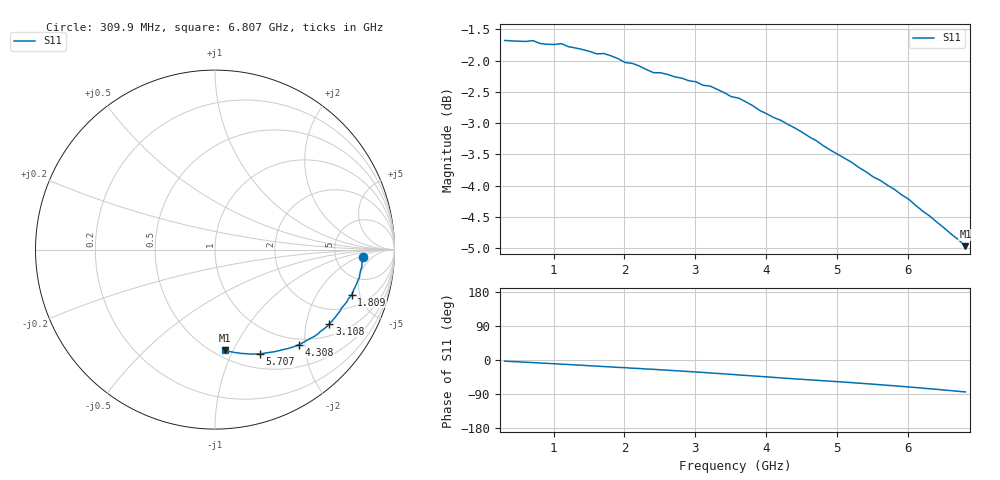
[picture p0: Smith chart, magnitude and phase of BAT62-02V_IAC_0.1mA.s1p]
! Infineon Technologies  Discrete & RF Semiconductors
! BAT62-02V
! IAC = 0.1 mA
! One-Port S-Parameters
# Hz  S  MA  R  50
!f  S11
!Hz  Mag  Ang
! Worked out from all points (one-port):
!   66 points, 309.9 MHz to 6.807 GHz, reference 50 ohm
!   lowest |S11| = -5.0 dB at 6.807 GHz (marker M1), VSWR 3.59, Z = 28.3 - j46.6 ohm
!   |S11| at or under -10 dB: nowhere
!   S11 on the Smith chart (normalised r, x): 309.9 MHz: 10, -3; 1.809 GHz: 2.98, -4.18; 3.108 GHz: 1.41, -2.74; 4.308 GHz: 0.89, -1.88; 5.707 GHz: 0.67, -1.29; 6.807 GHz: 0.57, -0.93
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3.0985e8  0.8243 -3.0
7.0965e8  0.8241 -6.8
8.096e8  0.8197 -7.9
1.10945e9  0.8195 -11.0
1.2094e9  0.8149 -11.9
1.50925e9  0.8078 -15.2
1.6092e9  0.8042 -16.0
1.8091e9  0.8014 -18.2
1.90905e9  0.7971 -19.5
2.009e9  0.7915 -20.2
2.10895e9  0.7903 -21.6
2.2089e9  0.7864 -22.4
2.30885e9  0.7813 -23.8
2.4088e9  0.7768 -24.6
2.50875e9  0.7767 -25.9
2.8086e9  0.769 -29.3
3.10845e9  0.759 -32.9
3.2084e9  0.7578 -34.2
3.50825e9  0.7432 -37.9
3.6082e9  0.7413 -39.4
4.2079e9  0.7114 -47.4
4.30785e9  0.706 -48.6
4.4078e9  0.7013 -50.0
5.2074e9  0.6584 -59.8
5.70715e9  0.6314 -66.8
6.007e9  0.6153 -71.1
6.50675e9  0.5836 -79.3
6.8066e9  0.5644 -84.3
